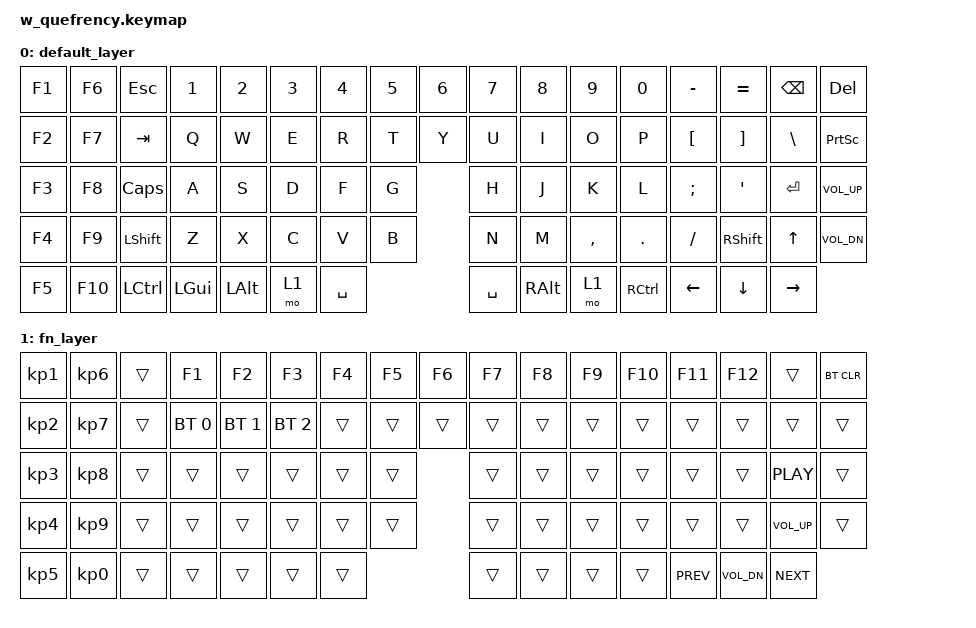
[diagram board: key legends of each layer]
/*
 * Copyright (c) 2020 The ZMK Contributors
 *
 * SPDX-License-Identifier: MIT
 */

#include <behaviors.dtsi>
#include <dt-bindings/zmk/bt.h>
#include <dt-bindings/zmk/keys.h>

/ {
    keymap {
        compatible = "zmk,keymap";

//---------------------------------------------------------      -----------------------------------------------------
//| F1  | F6  || ESC  |  1   |  2  |  3   |  4  |  5  |  6  |      |  7  |  8  |  9  |  0  |  -  |  =  |  BKSPC |  DEL |
//| F2  | F7  || TAB   |  Q   |  W  |  E   |  R  |  T  |        |  Y  |  U  |  I  |  O  |  P  |  [  |  ]  |  \  | PSCRN|
//| F3  | F8  || CAPS  |  A   |  S  |  D   |  F  |  G  |         |  H  |  J  |  K  |  L  |  ;  |  '  |   ENTER  | VLUP |
//| F4  | F9  || SHIFT   |  Z   |  X  |  C  |  V   |  B  |        |  N  |  M  |  ,  |  .  |  /  |  RSHFT  |  UP | VLDN |
//| F5  | F10 || LCTRL   | LGUI | LALT |   FN   | SPACE  |        |    SPACE    | RALT | FN | RCTRL | LFT | DWN | RGHT |
// -----------------------------------------------------        ------------------------------------------------------

        default_layer {
            bindings = <
    &kp F1   &kp F6   &kp ESC   &kp N1   &kp N2   &kp N3    &kp N4 &kp N5 &kp N6 /**/ &kp N7    &kp N8   &kp N9    &kp N0    &kp MINUS &kp EQUAL &kp BSPC &kp DEL
    &kp F2   &kp F7   &kp TAB   &kp Q    &kp W    &kp E     &kp R  &kp T         /**/ &kp Y     &kp U    &kp I     &kp O     &kp P     &kp LBKT  &kp RBKT &kp BSLH &kp PSCRN
    &kp F3   &kp F8   &kp CAPS &kp A    &kp S    &kp D     &kp F  &kp G         /**/ &kp H     &kp J    &kp K     &kp L     &kp SEMI  &kp SQT   &kp RET  &kp C_VOL_UP
    &kp F4   &kp F9   &kp LSHFT &kp Z    &kp X    &kp C     &kp V  &kp B         /**/ &kp N     &kp M    &kp COMMA &kp DOT   &kp FSLH  &kp RSHFT &kp UP   &kp C_VOL_DN
    &kp F5   &kp F10  &kp LCTRL &kp LGUI &kp LALT &mo 1 &kp SPACE                /**/ &kp SPACE &kp RALT &mo 1     &kp RCTRL &kp LEFT  &kp DOWN  &kp RIGHT
            >;
        };

// ----------------------------------------------------------------        -----------------------------------------------------
// | KP_N1  | KP_N6  ||      |  F1  |  F2 |  F3  |  F4 |  F5 |  F6 |       |  F7 |  F8 |  F9 | F10 | F11 | F12 |        |BT_CLR|
// | KP_N2  | KP_N7  ||       | BT-0 | BT-1| BT-2 |     |     |         |     |     |     |     |     |     |     |     |      |
// | KP_N3  | KP_N8  ||        |      |     |      |     |     |         |     |     |     |     |     |     |   PLAY   |      |
// | KP_N4  | KP_N9  ||         |      |     |     |      |     |         |     |     |     |     |     |         | VLUP|      |
// | KP_N5  | KP_N0  ||         |      |      |           |     |         |             |      |    |       | NXT | VLDN| PRV  |
// --------------------------------------------------------------        ------------------------------------------------------

        fn_layer {
            bindings = <
    &kp KP_N1   &kp KP_N6  &trans     &kp F1       &kp F2       &kp F3       &kp F4 &kp F5 &kp F6 /**/ &kp F7 &kp F8 &kp F9 &kp F10 &kp F11 &kp F12 &trans &bt BT_CLR
    &kp KP_N2   &kp KP_N7  &trans     &bt BT_SEL 0 &bt BT_SEL 1 &bt BT_SEL 2 &trans &trans        /**/ &trans &trans &trans &trans  &trans  &trans  &trans &trans &trans
    &kp KP_N3   &kp KP_N8  &trans     &trans       &trans       &trans       &trans &trans        /**/ &trans &trans &trans &trans  &trans  &trans  &kp C_PLAY &trans
    &kp KP_N4   &kp KP_N9  &trans     &trans       &trans       &trans       &trans &trans        /**/ &trans &trans &trans &trans  &trans  &trans  &kp C_VOL_UP &trans
    &kp KP_N5   &kp KP_N0  &trans     &trans       &trans       &trans       &trans               /**/ &trans &trans &trans &trans  &kp C_PREV  &kp C_VOL_DN  &kp C_NEXT
            >;
        };
    };
};
